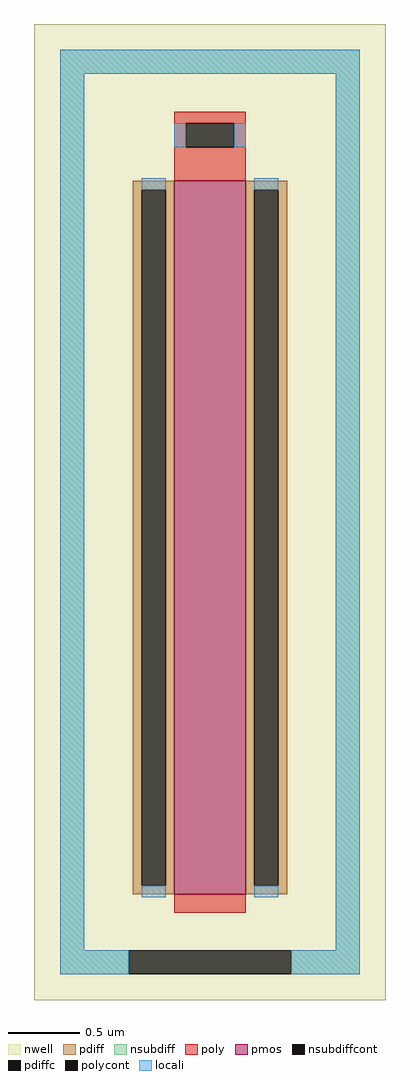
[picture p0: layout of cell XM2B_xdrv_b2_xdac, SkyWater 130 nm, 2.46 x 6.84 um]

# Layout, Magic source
magic
tech sky130A
magscale 1 2
<< nwell >>
rect -246 -684 246 684
<< pmos >>
rect -50 -536 50 464
<< pdiff >>
rect -108 452 -50 464
rect -108 -524 -96 452
rect -62 -524 -50 452
rect -108 -536 -50 -524
rect 50 452 108 464
rect 50 -524 62 452
rect 96 -524 108 452
rect 50 -536 108 -524
<< pdiffc >>
rect -96 -524 -62 452
rect 62 -524 96 452
<< nsubdiff >>
rect -210 614 210 648
rect -210 -614 -176 614
rect 176 -614 210 614
rect -210 -648 -114 -614
rect 114 -648 210 -614
<< nsubdiffcont >>
rect -114 -648 114 -614
<< poly >>
rect -50 545 50 561
rect -50 511 -34 545
rect 34 511 50 545
rect -50 464 50 511
rect -50 -562 50 -536
<< polycont >>
rect -34 511 34 545
<< locali >>
rect -210 614 210 648
rect -210 -614 -176 614
rect -50 511 -34 545
rect 34 511 50 545
rect -96 452 -62 468
rect -96 -540 -62 -524
rect 62 452 96 468
rect 62 -540 96 -524
rect 176 -614 210 614
rect -210 -648 -114 -614
rect 114 -648 210 -614
<< properties >>
string FIXED_BBOX -193 -631 193 631
<< end >>
